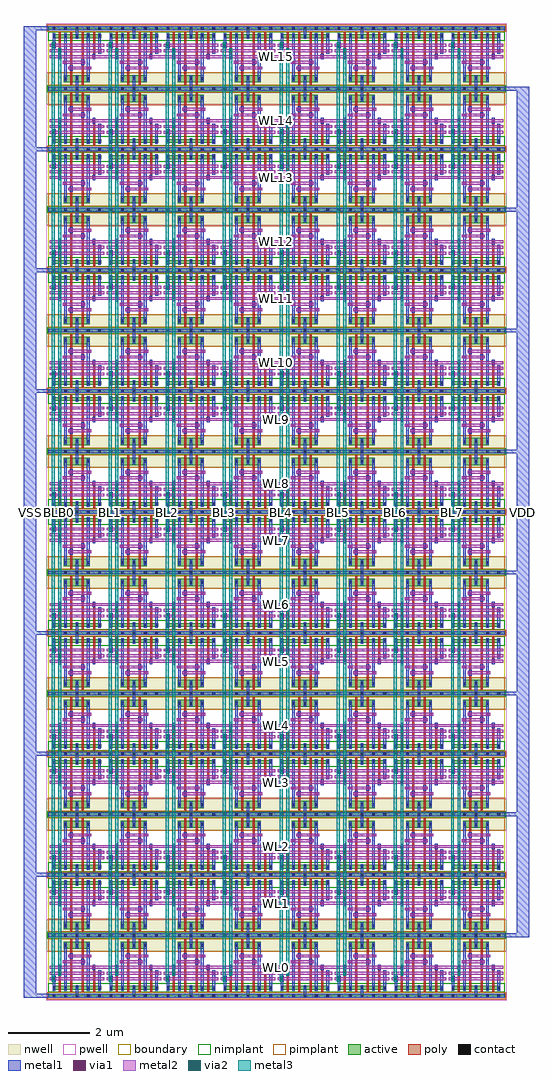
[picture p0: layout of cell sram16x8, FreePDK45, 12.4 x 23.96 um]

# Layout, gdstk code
import gdstk
lib = gdstk.Library(unit=1e-6, precision=5e-10)
def R(c, l, rs):  # rectangles x0, y0, x1, y1
    for r in rs: c.add(gdstk.rectangle(r[:2], r[2:], *l))
def A(c, l, x, y, w, h, nx, ny, dx, dy):  # array of equal rectangles
    R(c, l, [(x+i*dx, y+j*dy, x+i*dx+w, y+j*dy+h) for i in range(nx) for j in range(ny)])
active = (1, 0)
pwell = (2, 0)
nwell = (3, 0)
nimplant = (4, 0)
pimplant = (5, 0)
poly = (9, 0)
contact = (10, 0)
metal1 = (11, 0)
via1 = (12, 0)
metal2 = (13, 0)
via2 = (14, 0)
metal3 = (15, 0)
boundary = (235, 0)

sram6t = lib.new_cell('sram6t')
R(sram6t, active, [(0,-0.05,1.4,0.045), (0.1,0.15,1.295,0.24), (0.38,1.15,1.015,1.33), (0,1.435,1.4,1.53)])
R(sram6t, pwell, [(-0.055,-0.105,1.455,1.095)])
R(sram6t, nwell, [(-0.055,1.095,1.455,1.585)])
R(sram6t, nimplant, [(0,0.08,1.4,0.31), (-0.035,1.4,1.435,1.565)])
R(sram6t, pimplant, [(-0.035,-0.085,1.435,0.08), (0,1.08,1.4,1.4)])
A(sram6t, poly, 0.255, 0.095, 0.05, 0.2, 4, 1, 0.28, 0)
R(sram6t, poly, [(0.255,0.295,0.305,0.695), (0.535,0.295,0.585,1.095), (0.815,0.295,0.865,1.095), (1.095,0.295,1.145,0.695), (0.24,0.655,0.315,0.73), (1.08,0.655,1.155,0.73), (0.8,0.795,0.875,0.87), (0.52,0.935,0.595,1.01), (0.535,1.095,0.585,1.385), (0.815,1.095,0.865,1.385)])
A(sram6t, contact, 0.105, -0.035, 0.065, 0.065, 5, 2, 0.28, 0.195)
A(sram6t, contact, 0.385, 1.205, 0.065, 0.065, 3, 1, 0.28, 0)
A(sram6t, contact, 0.105, 1.45, 0.065, 0.065, 5, 1, 0.28, 0)
R(sram6t, contact, [(0.245,0.66,0.31,0.725), (1.085,0.66,1.15,0.725), (0.805,0.8,0.87,0.865), (0.525,0.94,0.59,1.005)])
A(sram6t, metal1, 0.105, 0.125, 0.065, 0.135, 5, 1, 0.28, 0)
A(sram6t, metal1, 0.385, 1.17, 0.065, 0.135, 3, 1, 0.28, 0)
R(sram6t, metal1, [(0,-0.05,1.4,0.045), (0.665,0,0.73,0.125), (0.105,0.26,0.17,0.415), (0.385,0.26,0.45,0.835), (0.945,0.26,1.01,0.975), (1.225,0.26,1.29,0.555), (0.105,0.345,0.175,0.485), (1.225,0.485,1.295,0.625), (0.245,0.625,0.315,0.765), (1.085,0.625,1.155,0.765), (0.385,0.765,0.455,0.905), (0.385,0.765,0.455,0.905), (0.805,0.765,0.875,0.905), (0.385,0.835,0.45,1.17), (0.525,0.905,0.595,1.045), (0.945,0.905,1.015,1.045), (0.945,0.905,1.015,1.045), (0.945,0.975,1.01,1.17), (0.665,1.305,0.73,1.485), (0,1.435,1.4,1.53)])
R(sram6t, via1, [(0.105,0.38,0.175,0.45), (1.225,0.52,1.295,0.59), (0.245,0.66,0.315,0.73), (1.085,0.66,1.155,0.73), (0.385,0.8,0.455,0.87), (0.385,0.8,0.455,0.87), (0.805,0.8,0.875,0.87), (0.525,0.94,0.595,1.01), (0.945,0.94,1.015,1.01), (0.945,0.94,1.015,1.01)])
A(sram6t, metal2, 0.035, 0.38, 1.33, 0.07, 1, 3, 0, 0.14)
R(sram6t, metal2, [(0.07,0.38,0.21,0.45), (1.19,0.52,1.33,0.59), (0.21,0.66,0.35,0.73), (1.05,0.66,1.19,0.73), (0.35,0.8,0.49,0.87), (0.35,0.8,0.49,0.87), (0.42,0.8,0.84,0.87), (0.77,0.8,0.91,0.87), (0.49,0.94,0.63,1.01), (0.56,0.94,0.98,1.01), (0.91,0.94,1.05,1.01), (0.91,0.94,1.05,1.01)])
R(sram6t, boundary, [(0,0,1.4,1.485)])
sram6t.add(gdstk.Label('VSS', (0.7,-0.003), layer=11, texttype=1))
sram6t.add(gdstk.Label('VDD', (0.7,1.482), layer=11, texttype=1))
sram6t.add(gdstk.Label('BL', (0.7,0.415), layer=13, texttype=1))
sram6t.add(gdstk.Label('BLB', (0.7,0.555), layer=13, texttype=1))
sram6t.add(gdstk.Label('WL', (0.7,0.695), layer=13, texttype=1))

sram16x8 = lib.new_cell('sram16x8')
A(sram16x8, metal1, -0.6, -0.05, 0.6, 0.095, 1, 9, 0, 2.97)
A(sram16x8, metal1, 11.2, 1.435, 0.6, 0.095, 1, 8, 0, 2.97)
R(sram16x8, metal1, [(-0.6,-0.05,-0.3,23.805), (11.5,1.435,11.8,22.32)])
A(sram16x8, metal2, 0.05, 0.38, 0.14, 0.07, 8, 2, 1.4, 2.135)
A(sram16x8, metal2, 0.21, 0.52, 0.14, 0.07, 8, 2, 1.4, 1.855)
A(sram16x8, metal2, 1.365, 0.66, 0.07, 0.07, 7, 2, 1.4, 1.575)
A(sram16x8, metal2, 0.05, 3.35, 0.14, 0.07, 8, 2, 1.4, 2.135)
A(sram16x8, metal2, 0.21, 3.49, 0.14, 0.07, 8, 2, 1.4, 1.855)
A(sram16x8, metal2, 1.365, 3.63, 0.07, 0.07, 7, 2, 1.4, 1.575)
A(sram16x8, metal2, 0.05, 6.32, 0.14, 0.07, 8, 2, 1.4, 2.135)
A(sram16x8, metal2, 0.21, 6.46, 0.14, 0.07, 8, 2, 1.4, 1.855)
A(sram16x8, metal2, 1.365, 6.6, 0.07, 0.07, 7, 2, 1.4, 1.575)
A(sram16x8, metal2, 0.05, 9.29, 0.14, 0.07, 8, 2, 1.4, 2.135)
A(sram16x8, metal2, 0.21, 9.43, 0.14, 0.07, 8, 2, 1.4, 1.855)
A(sram16x8, metal2, 1.365, 9.57, 0.07, 0.07, 7, 2, 1.4, 1.575)
A(sram16x8, metal2, 0.05, 12.26, 0.14, 0.07, 8, 2, 1.4, 2.135)
A(sram16x8, metal2, 0.21, 12.4, 0.14, 0.07, 8, 2, 1.4, 1.855)
A(sram16x8, metal2, 1.365, 12.54, 0.07, 0.07, 7, 2, 1.4, 1.575)
A(sram16x8, metal2, 0.05, 15.23, 0.14, 0.07, 8, 2, 1.4, 2.135)
A(sram16x8, metal2, 0.21, 15.37, 0.14, 0.07, 8, 2, 1.4, 1.855)
A(sram16x8, metal2, 1.365, 15.51, 0.07, 0.07, 7, 2, 1.4, 1.575)
A(sram16x8, metal2, 0.05, 18.2, 0.14, 0.07, 8, 2, 1.4, 2.135)
A(sram16x8, metal2, 0.21, 18.34, 0.14, 0.07, 8, 2, 1.4, 1.855)
A(sram16x8, metal2, 1.365, 18.48, 0.07, 0.07, 7, 2, 1.4, 1.575)
A(sram16x8, metal2, 0.05, 21.17, 0.14, 0.07, 8, 2, 1.4, 2.135)
A(sram16x8, metal2, 0.21, 21.31, 0.14, 0.07, 8, 2, 1.4, 1.855)
A(sram16x8, metal2, 1.365, 21.45, 0.07, 0.07, 7, 2, 1.4, 1.575)
A(sram16x8, via2, 0.085, 0.38, 0.07, 0.07, 8, 2, 1.4, 2.135)
A(sram16x8, via2, 0.245, 0.52, 0.07, 0.07, 8, 2, 1.4, 1.855)
A(sram16x8, via2, 0.085, 3.35, 0.07, 0.07, 8, 2, 1.4, 2.135)
A(sram16x8, via2, 0.245, 3.49, 0.07, 0.07, 8, 2, 1.4, 1.855)
A(sram16x8, via2, 0.085, 6.32, 0.07, 0.07, 8, 2, 1.4, 2.135)
A(sram16x8, via2, 0.245, 6.46, 0.07, 0.07, 8, 2, 1.4, 1.855)
A(sram16x8, via2, 0.085, 9.29, 0.07, 0.07, 8, 2, 1.4, 2.135)
A(sram16x8, via2, 0.245, 9.43, 0.07, 0.07, 8, 2, 1.4, 1.855)
A(sram16x8, via2, 0.085, 12.26, 0.07, 0.07, 8, 2, 1.4, 2.135)
A(sram16x8, via2, 0.245, 12.4, 0.07, 0.07, 8, 2, 1.4, 1.855)
A(sram16x8, via2, 0.085, 15.23, 0.07, 0.07, 8, 2, 1.4, 2.135)
A(sram16x8, via2, 0.245, 15.37, 0.07, 0.07, 8, 2, 1.4, 1.855)
A(sram16x8, via2, 0.085, 18.2, 0.07, 0.07, 8, 2, 1.4, 2.135)
A(sram16x8, via2, 0.245, 18.34, 0.07, 0.07, 8, 2, 1.4, 1.855)
A(sram16x8, via2, 0.085, 21.17, 0.07, 0.07, 8, 2, 1.4, 2.135)
A(sram16x8, via2, 0.245, 21.31, 0.07, 0.07, 8, 2, 1.4, 1.855)
A(sram16x8, metal3, 0.085, 0.345, 0.07, 0.14, 8, 2, 1.4, 2.135)
A(sram16x8, metal3, 0.085, 0.415, 0.07, 22.925, 8, 1, 1.4, 0)
A(sram16x8, metal3, 0.245, 0.485, 0.07, 0.14, 8, 2, 1.4, 1.855)
A(sram16x8, metal3, 0.245, 0.555, 0.07, 22.645, 8, 1, 1.4, 0)
A(sram16x8, metal3, 0.085, 3.315, 0.07, 0.14, 8, 2, 1.4, 2.135)
A(sram16x8, metal3, 0.245, 3.455, 0.07, 0.14, 8, 2, 1.4, 1.855)
A(sram16x8, metal3, 0.085, 6.285, 0.07, 0.14, 8, 2, 1.4, 2.135)
A(sram16x8, metal3, 0.245, 6.425, 0.07, 0.14, 8, 2, 1.4, 1.855)
A(sram16x8, metal3, 0.085, 9.255, 0.07, 0.14, 8, 2, 1.4, 2.135)
A(sram16x8, metal3, 0.245, 9.395, 0.07, 0.14, 8, 2, 1.4, 1.855)
A(sram16x8, metal3, 0.085, 12.225, 0.07, 0.14, 8, 2, 1.4, 2.135)
A(sram16x8, metal3, 0.245, 12.365, 0.07, 0.14, 8, 2, 1.4, 1.855)
A(sram16x8, metal3, 0.085, 15.195, 0.07, 0.14, 8, 2, 1.4, 2.135)
A(sram16x8, metal3, 0.245, 15.335, 0.07, 0.14, 8, 2, 1.4, 1.855)
A(sram16x8, metal3, 0.085, 18.165, 0.07, 0.14, 8, 2, 1.4, 2.135)
A(sram16x8, metal3, 0.245, 18.305, 0.07, 0.14, 8, 2, 1.4, 1.855)
A(sram16x8, metal3, 0.085, 21.135, 0.07, 0.14, 8, 2, 1.4, 2.135)
A(sram16x8, metal3, 0.245, 21.275, 0.07, 0.14, 8, 2, 1.4, 1.855)
sram16x8.add(gdstk.Reference(sram6t, (4.2,0)))
sram16x8.add(gdstk.Reference(sram6t, (5.6,0)))
sram16x8.add(gdstk.Reference(sram6t, (4.2,2.965), x_reflection=True))
sram16x8.add(gdstk.Reference(sram6t, (5.6,2.965), x_reflection=True))
sram16x8.add(gdstk.Reference(sram6t, (4.2,2.97)))
sram16x8.add(gdstk.Reference(sram6t, (5.6,2.97)))
sram16x8.add(gdstk.Reference(sram6t, (4.2,5.935), x_reflection=True))
sram16x8.add(gdstk.Reference(sram6t, (5.6,5.935), x_reflection=True))
sram16x8.add(gdstk.Reference(sram6t, (4.2,5.94)))
sram16x8.add(gdstk.Reference(sram6t, (5.6,5.94)))
sram16x8.add(gdstk.Reference(sram6t, (4.2,8.905), x_reflection=True))
sram16x8.add(gdstk.Reference(sram6t, (5.6,8.905), x_reflection=True))
sram16x8.add(gdstk.Reference(sram6t, (4.2,8.91)))
sram16x8.add(gdstk.Reference(sram6t, (5.6,8.91)))
sram16x8.add(gdstk.Reference(sram6t, (0,11.875), x_reflection=True))
sram16x8.add(gdstk.Reference(sram6t, (1.4,11.875), x_reflection=True))
sram16x8.add(gdstk.Reference(sram6t, (2.8,11.875), x_reflection=True))
sram16x8.add(gdstk.Reference(sram6t, (4.2,11.875), x_reflection=True))
sram16x8.add(gdstk.Reference(sram6t, (5.6,11.875), x_reflection=True))
sram16x8.add(gdstk.Reference(sram6t, (7,11.875), x_reflection=True))
sram16x8.add(gdstk.Reference(sram6t, (8.4,11.875), x_reflection=True))
sram16x8.add(gdstk.Reference(sram6t, (9.8,11.875), x_reflection=True))
sram16x8.add(gdstk.Reference(sram6t, (0,11.88)))
sram16x8.add(gdstk.Reference(sram6t, (1.4,11.88)))
sram16x8.add(gdstk.Reference(sram6t, (2.8,11.88)))
sram16x8.add(gdstk.Reference(sram6t, (4.2,11.88)))
sram16x8.add(gdstk.Reference(sram6t, (5.6,11.88)))
sram16x8.add(gdstk.Reference(sram6t, (7,11.88)))
sram16x8.add(gdstk.Reference(sram6t, (8.4,11.88)))
sram16x8.add(gdstk.Reference(sram6t, (9.8,11.88)))
sram16x8.add(gdstk.Reference(sram6t, (4.2,14.845), x_reflection=True))
sram16x8.add(gdstk.Reference(sram6t, (5.6,14.845), x_reflection=True))
sram16x8.add(gdstk.Reference(sram6t, (4.2,14.85)))
sram16x8.add(gdstk.Reference(sram6t, (5.6,14.85)))
sram16x8.add(gdstk.Reference(sram6t, (4.2,17.815), x_reflection=True))
sram16x8.add(gdstk.Reference(sram6t, (5.6,17.815), x_reflection=True))
sram16x8.add(gdstk.Reference(sram6t, (4.2,17.82)))
sram16x8.add(gdstk.Reference(sram6t, (5.6,17.82)))
sram16x8.add(gdstk.Reference(sram6t, (4.2,20.785), x_reflection=True))
sram16x8.add(gdstk.Reference(sram6t, (5.6,20.785), x_reflection=True))
sram16x8.add(gdstk.Reference(sram6t, (4.2,20.79)))
sram16x8.add(gdstk.Reference(sram6t, (5.6,20.79)))
sram16x8.add(gdstk.Reference(sram6t, (4.2,23.755), x_reflection=True))
sram16x8.add(gdstk.Reference(sram6t, (5.6,23.755), x_reflection=True))
sram16x8.add(gdstk.Reference(sram6t, (9.8,17.815), x_reflection=True))
sram16x8.add(gdstk.Reference(sram6t, (8.4,14.845), x_reflection=True))
sram16x8.add(gdstk.Reference(sram6t, (7,14.85)))
sram16x8.add(gdstk.Reference(sram6t, (7,17.82)))
sram16x8.add(gdstk.Reference(sram6t, (8.4,17.82)))
sram16x8.add(gdstk.Reference(sram6t, (9.8,17.82)))
sram16x8.add(gdstk.Reference(sram6t, (8.4,14.85)))
sram16x8.add(gdstk.Reference(sram6t, (9.8,14.85)))
sram16x8.add(gdstk.Reference(sram6t, (7,20.785), x_reflection=True))
sram16x8.add(gdstk.Reference(sram6t, (8.4,20.785), x_reflection=True))
sram16x8.add(gdstk.Reference(sram6t, (9.8,20.785), x_reflection=True))
sram16x8.add(gdstk.Reference(sram6t, (9.8,14.845), x_reflection=True))
sram16x8.add(gdstk.Reference(sram6t, (7,14.845), x_reflection=True))
sram16x8.add(gdstk.Reference(sram6t, (7,20.79)))
sram16x8.add(gdstk.Reference(sram6t, (8.4,20.79)))
sram16x8.add(gdstk.Reference(sram6t, (9.8,20.79)))
sram16x8.add(gdstk.Reference(sram6t, (7,17.815), x_reflection=True))
sram16x8.add(gdstk.Reference(sram6t, (8.4,17.815), x_reflection=True))
sram16x8.add(gdstk.Reference(sram6t, (7,23.755), x_reflection=True))
sram16x8.add(gdstk.Reference(sram6t, (8.4,23.755), x_reflection=True))
sram16x8.add(gdstk.Reference(sram6t, (9.8,23.755), x_reflection=True))
sram16x8.add(gdstk.Reference(sram6t, (2.8,14.845), x_reflection=True))
sram16x8.add(gdstk.Reference(sram6t, (0,14.845), x_reflection=True))
sram16x8.add(gdstk.Reference(sram6t, (1.4,14.845), x_reflection=True))
sram16x8.add(gdstk.Reference(sram6t, (0,14.85)))
sram16x8.add(gdstk.Reference(sram6t, (0,17.82)))
sram16x8.add(gdstk.Reference(sram6t, (0,20.79)))
sram16x8.add(gdstk.Reference(sram6t, (1.4,20.79)))
sram16x8.add(gdstk.Reference(sram6t, (2.8,20.79)))
sram16x8.add(gdstk.Reference(sram6t, (1.4,17.82)))
sram16x8.add(gdstk.Reference(sram6t, (2.8,17.82)))
sram16x8.add(gdstk.Reference(sram6t, (1.4,14.85)))
sram16x8.add(gdstk.Reference(sram6t, (0,17.815), x_reflection=True))
sram16x8.add(gdstk.Reference(sram6t, (1.4,17.815), x_reflection=True))
sram16x8.add(gdstk.Reference(sram6t, (0,23.755), x_reflection=True))
sram16x8.add(gdstk.Reference(sram6t, (1.4,23.755), x_reflection=True))
sram16x8.add(gdstk.Reference(sram6t, (2.8,23.755), x_reflection=True))
sram16x8.add(gdstk.Reference(sram6t, (2.8,17.815), x_reflection=True))
sram16x8.add(gdstk.Reference(sram6t, (2.8,14.85)))
sram16x8.add(gdstk.Reference(sram6t, (0,20.785), x_reflection=True))
sram16x8.add(gdstk.Reference(sram6t, (1.4,20.785), x_reflection=True))
sram16x8.add(gdstk.Reference(sram6t, (2.8,20.785), x_reflection=True))
sram16x8.add(gdstk.Reference(sram6t, (2.8,0)))
sram16x8.add(gdstk.Reference(sram6t, (0,0)))
sram16x8.add(gdstk.Reference(sram6t, (0,8.905), x_reflection=True))
sram16x8.add(gdstk.Reference(sram6t, (1.4,8.905), x_reflection=True))
sram16x8.add(gdstk.Reference(sram6t, (2.8,8.905), x_reflection=True))
sram16x8.add(gdstk.Reference(sram6t, (0,2.97)))
sram16x8.add(gdstk.Reference(sram6t, (1.4,2.97)))
sram16x8.add(gdstk.Reference(sram6t, (0,8.91)))
sram16x8.add(gdstk.Reference(sram6t, (1.4,8.91)))
sram16x8.add(gdstk.Reference(sram6t, (2.8,8.91)))
sram16x8.add(gdstk.Reference(sram6t, (2.8,2.97)))
sram16x8.add(gdstk.Reference(sram6t, (1.4,0)))
sram16x8.add(gdstk.Reference(sram6t, (0,2.965), x_reflection=True))
sram16x8.add(gdstk.Reference(sram6t, (0,5.935), x_reflection=True))
sram16x8.add(gdstk.Reference(sram6t, (1.4,5.935), x_reflection=True))
sram16x8.add(gdstk.Reference(sram6t, (2.8,5.935), x_reflection=True))
sram16x8.add(gdstk.Reference(sram6t, (1.4,2.965), x_reflection=True))
sram16x8.add(gdstk.Reference(sram6t, (2.8,2.965), x_reflection=True))
sram16x8.add(gdstk.Reference(sram6t, (0,5.94)))
sram16x8.add(gdstk.Reference(sram6t, (1.4,5.94)))
sram16x8.add(gdstk.Reference(sram6t, (2.8,5.94)))
sram16x8.add(gdstk.Reference(sram6t, (7,5.935), x_reflection=True))
sram16x8.add(gdstk.Reference(sram6t, (7,8.905), x_reflection=True))
sram16x8.add(gdstk.Reference(sram6t, (8.4,8.905), x_reflection=True))
sram16x8.add(gdstk.Reference(sram6t, (9.8,8.905), x_reflection=True))
sram16x8.add(gdstk.Reference(sram6t, (8.4,5.935), x_reflection=True))
sram16x8.add(gdstk.Reference(sram6t, (9.8,5.935), x_reflection=True))
sram16x8.add(gdstk.Reference(sram6t, (8.4,2.965), x_reflection=True))
sram16x8.add(gdstk.Reference(sram6t, (7,2.97)))
sram16x8.add(gdstk.Reference(sram6t, (8.4,2.97)))
sram16x8.add(gdstk.Reference(sram6t, (7,8.91)))
sram16x8.add(gdstk.Reference(sram6t, (8.4,8.91)))
sram16x8.add(gdstk.Reference(sram6t, (9.8,8.91)))
sram16x8.add(gdstk.Reference(sram6t, (9.8,2.97)))
sram16x8.add(gdstk.Reference(sram6t, (9.8,2.965), x_reflection=True))
sram16x8.add(gdstk.Reference(sram6t, (7,5.94)))
sram16x8.add(gdstk.Reference(sram6t, (8.4,5.94)))
sram16x8.add(gdstk.Reference(sram6t, (9.8,5.94)))
sram16x8.add(gdstk.Reference(sram6t, (9.8,0)))
sram16x8.add(gdstk.Reference(sram6t, (7,0)))
sram16x8.add(gdstk.Reference(sram6t, (8.4,0)))
sram16x8.add(gdstk.Reference(sram6t, (7,2.965), x_reflection=True))
sram16x8.add(gdstk.Label('VSS', (-0.45,11.877), layer=11, texttype=1))
sram16x8.add(gdstk.Label('VDD', (11.65,11.877), layer=11, texttype=1))
sram16x8.add(gdstk.Label('BL0', (0.12,11.877), layer=15, texttype=1))
sram16x8.add(gdstk.Label('BL1', (1.52,11.877), layer=15, texttype=1))
sram16x8.add(gdstk.Label('BL2', (2.92,11.877), layer=15, texttype=1))
sram16x8.add(gdstk.Label('BL3', (4.32,11.877), layer=15, texttype=1))
sram16x8.add(gdstk.Label('BL4', (5.72,11.877), layer=15, texttype=1))
sram16x8.add(gdstk.Label('BL5', (7.12,11.877), layer=15, texttype=1))
sram16x8.add(gdstk.Label('BL6', (8.52,11.877), layer=15, texttype=1))
sram16x8.add(gdstk.Label('BL7', (9.92,11.877), layer=15, texttype=1))
sram16x8.add(gdstk.Label('BLB0', (0.28,11.877), layer=15, texttype=1))
sram16x8.add(gdstk.Label('BLB1', (1.68,11.877), layer=15, texttype=1))
sram16x8.add(gdstk.Label('BLB2', (3.08,11.877), layer=15, texttype=1))
sram16x8.add(gdstk.Label('BLB3', (4.48,11.877), layer=15, texttype=1))
sram16x8.add(gdstk.Label('BLB4', (5.88,11.877), layer=15, texttype=1))
sram16x8.add(gdstk.Label('BLB5', (7.28,11.877), layer=15, texttype=1))
sram16x8.add(gdstk.Label('BLB6', (8.68,11.877), layer=15, texttype=1))
sram16x8.add(gdstk.Label('BLB7', (10.08,11.877), layer=15, texttype=1))
sram16x8.add(gdstk.Label('WL0', (5.6,0.695), layer=13, texttype=1))
sram16x8.add(gdstk.Label('WL1', (5.6,2.27), layer=13, texttype=1))
sram16x8.add(gdstk.Label('WL10', (5.6,15.545), layer=13, texttype=1))
sram16x8.add(gdstk.Label('WL11', (5.6,17.12), layer=13, texttype=1))
sram16x8.add(gdstk.Label('WL12', (5.6,18.515), layer=13, texttype=1))
sram16x8.add(gdstk.Label('WL13', (5.6,20.09), layer=13, texttype=1))
sram16x8.add(gdstk.Label('WL14', (5.6,21.485), layer=13, texttype=1))
sram16x8.add(gdstk.Label('WL15', (5.6,23.06), layer=13, texttype=1))
sram16x8.add(gdstk.Label('WL2', (5.6,3.665), layer=13, texttype=1))
sram16x8.add(gdstk.Label('WL3', (5.6,5.24), layer=13, texttype=1))
sram16x8.add(gdstk.Label('WL4', (5.6,6.635), layer=13, texttype=1))
sram16x8.add(gdstk.Label('WL5', (5.6,8.21), layer=13, texttype=1))
sram16x8.add(gdstk.Label('WL6', (5.6,9.605), layer=13, texttype=1))
sram16x8.add(gdstk.Label('WL7', (5.6,11.18), layer=13, texttype=1))
sram16x8.add(gdstk.Label('WL8', (5.6,12.575), layer=13, texttype=1))
sram16x8.add(gdstk.Label('WL9', (5.6,14.15), layer=13, texttype=1))

lib.write_gds('sram16x8.gds')
